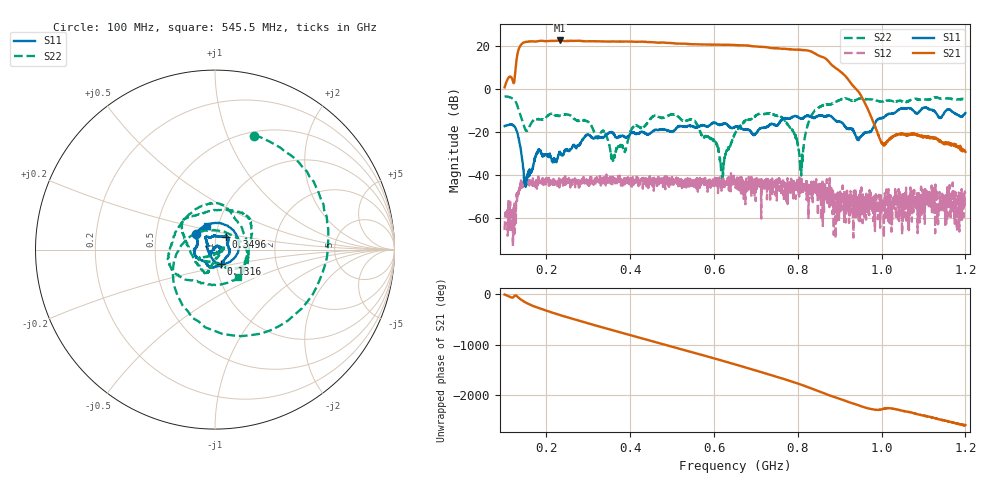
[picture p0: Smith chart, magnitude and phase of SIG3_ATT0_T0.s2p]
# Hz S DB R 50
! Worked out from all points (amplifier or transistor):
!   1601 points, 100 MHz to 1.2 GHz, reference 50 ohm
!   highest |S21| = 22.8 dB at 232 MHz (marker M1)
!   |S21| within 3 dB of that: 136 MHz to 712.5 MHz (576.5 MHz wide, 136 % of centre) (the widest 1 of 3)
!   unconditionally stable (mu >= 1): start of sweep to end of sweep
!   at 282.9 MHz: K = 4.69, MAG = 22.7 dB, |S12| = -42.2 dB
!   at 650 MHz: K = 5.76, MAG = 20.7 dB, |S12| = -42.0 dB
!   at 1.2 GHz: K = 2084.16, MAG = -26.8 dB, |S12| = -48.1 dB
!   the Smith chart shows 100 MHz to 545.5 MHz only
!   S11 on the Smith chart (normalised r, x): 100 MHz: 0.80, +0.14; 131.6 MHz: 1.06, -0.17; 349.6 MHz: 1.12, +0.16; 545.5 MHz: 0.88, +0.23
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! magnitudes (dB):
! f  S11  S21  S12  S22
! 100 MHz  -17.2  0.9  -65.7  -3.5
! 121.3 MHz  -16.9  2.9  -54.5  -4.6
! 131.6 MHz  -21.2  17.3  -49.6  -8.5
! 150.9 MHz  -44.2  22.1  -42.6  -19.3
! 180.4 MHz  -28.1  22.4  -40.7  -14.0
! 232 MHz  -29.1  22.8  -44.8  -12.4
! 283.6 MHz  -24.3  22.5  -41.9  -14.5
! 349.6 MHz  -20.4  22.2  -40.3  -25.9
! 359.2 MHz  -20.2  22.3  -41.3  -33.3
! 467.1 MHz  -19.1  21.8  -40.9  -12.8
! 545.5 MHz  -17.2  21.0  -45.0  -14.1
! 603.2 MHz  -15.6  20.8  -44.9  -24.3
! 619.1 MHz  -16.2  20.7  -43.5  -42.5
! 650 MHz  -17.7  20.6  -42.0  -20.5
! 757.2 MHz  -15.2  19.0  -44.3  -12.6
! 790.9 MHz  -12.6  18.5  -43.1  -20.2
! 807.4 MHz  -13.9  18.3  -48.2  -39.0
! 833.6 MHz  -13.2  17.4  -44.3  -11.8
! 944.9 MHz  -22.6  -1.2  -50.2  -4.4
! 999.2 MHz  -13.6  -24.9  -56.6  -5.7
! 1.017 GHz  -11.6  -23.7  -52.7  -5.2
! 1.2 GHz  -11.1  -29.2  -48.1  -4.2
